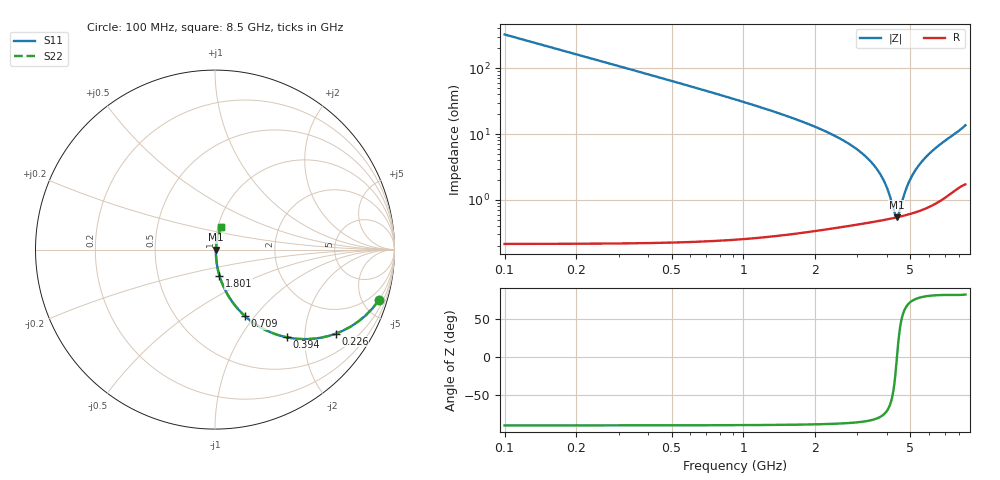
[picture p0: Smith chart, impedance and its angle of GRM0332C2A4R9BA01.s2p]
!Murata Part Number: GRM0332C2A4R9BA01
!These Parameters are Measured in Series Mode Connection
!Data Generated on Mar 30, 2021
!  o--ll--o
!Port1  Port2
!  o------o
!Operation Temp=25[degC], DC Bias Voltage=0[V]
!Freq. Start=100[MHz] Stop=9[GHz] 401[Steps]
# Hz S RI R 50
!Freq.(Hz) S11(Real) S11(Imag) S21(Real) S21(Imag) S12(Real) S12(Imag) S22(Real) S22(Imag)
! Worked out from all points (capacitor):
!   401 points, 100 MHz to 8.5 GHz, reference 50 ohm
!   read as one part in series: C = 4.9 pF near 142 MHz
!   lowest |Z| = 546 mohm at 4.384 GHz (marker M1)
!   series resonance near 4.393 GHz, so ESL is about 270 pH
!   S11 on the Smith chart (normalised r, x): 100 MHz: 1.00, -6.49; 226 MHz: 1.00, -2.87; 394 MHz: 1.00, -1.64; 709 MHz: 1.00, -0.89; 1.801 GHz: 1.01, -0.30; 8.5 GHz: 1.03, +0.27
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1e8  0.9132 -0.2812  0.0868 0.2812  0.0868 0.2812  0.9132 -0.2812
2.26e8  0.6724 -0.4686  0.3276 0.4686  0.3276 0.4686  0.6724 -0.4686
3.94e8  0.4009 -0.4887  0.5991 0.4887  0.5991 0.4887  0.4009 -0.4887
5.41e8  0.2598 -0.4366  0.7402 0.4366  0.7402 0.4366  0.2598 -0.4366
7.09e8  0.1672 -0.3705  0.8328 0.3705  0.8328 0.3705  0.1672 -0.3705
1.024e9  0.0844 -0.2737  0.9156 0.2737  0.9156 0.2737  0.0844 -0.2737
1.507e9  0.0375 -0.1823  0.9625 0.1823  0.9625 0.1823  0.0375 -0.1823
1.801e9  0.025 -0.1457  0.975 0.1457  0.975 0.1457  0.025 -0.1457
2.914e9  0.00801 -0.0619  0.992 0.0619  0.992 0.0619  0.00801 -0.0619
3.418e9  0.00597 -0.0374  0.994 0.0374  0.994 0.0374  0.00597 -0.0374
3.775e9  0.00537 -0.0226  0.9946 0.0226  0.9946 0.0226  0.00537 -0.0226
4.027e9  0.00525 -0.0129  0.9947 0.0129  0.9947 0.0129  0.00525 -0.0129
4.3e9  0.00535 -0.00319  0.9947 0.00319  0.9947 0.00319  0.00535 -0.00319
4.384e9  0.00542 -0.000304  0.9946 0.000304  0.9946 0.000304  0.00542 -0.000304
4.468e9  0.00551 0.00253  0.9945 -0.00253  0.9945 -0.00253  0.00551 0.00253
4.72e9  0.0059 0.0108  0.9941 -0.0108  0.9941 -0.0108  0.0059 0.0108
4.972e9  0.00643 0.0187  0.9936 -0.0187  0.9936 -0.0187  0.00643 0.0187
5.287e9  0.00731 0.0283  0.9927 -0.0283  0.9927 -0.0283  0.00731 0.0283
5.707e9  0.00886 0.0406  0.9911 -0.0406  0.9911 -0.0406  0.00886 0.0406
6.316e9  0.0119 0.0578  0.9881 -0.0578  0.9881 -0.0578  0.0119 0.0578
7.114e9  0.0177 0.0801  0.9823 -0.0801  0.9823 -0.0801  0.0177 0.0801
8.5e9  0.034 0.1284  0.966 -0.1284  0.966 -0.1284  0.034 0.1284
